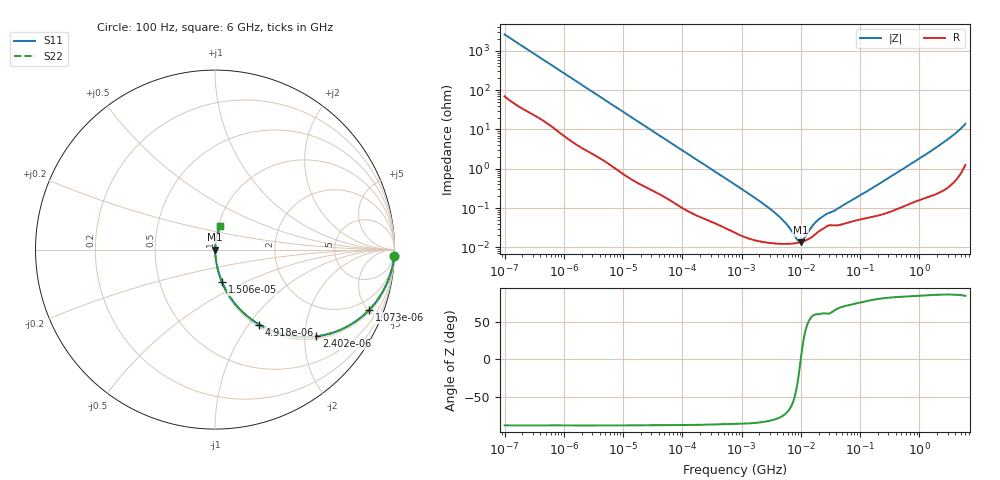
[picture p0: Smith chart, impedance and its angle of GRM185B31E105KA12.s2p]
!Murata Part Number: GRM185B31E105KA12
!These Parameters are Measured in Series Mode Connection
!Data Generated on Mar 30, 2021
!  o--ll--o
!Port1  Port2
!  o------o
!Operation Temp=25[degC], DC Bias Voltage=0[V]
!Freq. Start=100[Hz] Stop=6[GHz] 401[Steps]
# Hz S RI R 50
!Freq.(Hz) S11(Real) S11(Imag) S21(Real) S21(Imag) S12(Real) S12(Imag) S22(Real) S22(Imag)
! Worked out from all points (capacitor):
!   401 points, 100 Hz to 6 GHz, reference 50 ohm
!   read as one part in series: C = 607 nF near 109 Hz
!   lowest |Z| = 13.5 mohm at 9.942 MHz (marker M1)
!   series resonance near 9.98 MHz, so ESL is about 420 pH
!   S11 on the Smith chart (normalised r, x): 100 Hz: 2, -52; 1.073 kHz: 1.13, -5.06; 2.402 kHz: 1.06, -2.28; 4.918 kHz: 1.03, -1.13; 15.06 kHz: 1.01, -0.38; 6 GHz: 1.02, +0.28
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100  0.9975 -0.0382  0.00247 0.0382  0.00247 0.0382  0.9975 -0.0382
366  0.9778 -0.1341  0.0222 0.1341  0.0222 0.1341  0.9778 -0.1341
1073  0.8586 -0.3361  0.1414 0.3361  0.1414 0.3361  0.8586 -0.3361
2008  0.6463 -0.4659  0.3537 0.4659  0.3537 0.4659  0.6463 -0.4659
2402  0.5642 -0.4834  0.4358 0.4834  0.4358 0.4834  0.5642 -0.4834
4918  0.2478 -0.4183  0.7522 0.4183  0.7522 0.4183  0.2478 -0.4183
8047  0.1145 -0.3055  0.8855 0.3055  0.8855 0.3055  0.1145 -0.3055
15062  0.0385 -0.1796  0.9615 0.1796  0.9615 0.1796  0.0385 -0.1796
40335  0.00731 -0.0706  0.9927 0.0706  0.9927 0.0706  0.00731 -0.0706
774597  0.000248 -0.00394  0.9998 0.00394  0.9998 0.00394  0.000248 -0.00394
3882480  0.000125 -0.000688  0.9999 0.000688  0.9999 0.000688  0.000125 -0.000688
5809218  0.000122 -0.00036  0.9999 0.00036  0.9999 0.00036  0.000122 -0.00036
8692127  0.000129 -8.82e-05  0.9999 8.82e-05  0.9999 8.82e-05  0.000129 -8.82e-05
9941735  0.000135 -2.4e-06  0.9999 2.4e-06  0.9999 2.4e-06  0.000135 -2.4e-06
1.137099e7  0.000144 8.34e-05  0.9999 -8.34e-05  0.9999 -8.34e-05  0.000144 8.34e-05
1.555665e7  0.000185 0.00029  0.9998 -0.00029  0.9998 -0.00029  0.000185 0.00029
1.946e7  0.000246 0.00043  0.9998 -0.00043  0.9998 -0.00043  0.000246 0.00043
2.545746e7  0.000317 0.000583  0.9997 -0.000583  0.9997 -0.000583  0.000317 0.000583
3.80911e7  0.000359 0.000807  0.9996 -0.000807  0.9996 -0.000807  0.000359 0.000807
3.124326e8  0.00082 0.00595  0.9992 -0.00595  0.9992 -0.00595  0.00082 0.00595
2.142435e9  0.0039 0.0384  0.9961 -0.0384  0.9961 -0.0384  0.0039 0.0384
6e9  0.0303 0.1321  0.9697 -0.1321  0.9697 -0.1321  0.0303 0.1321
